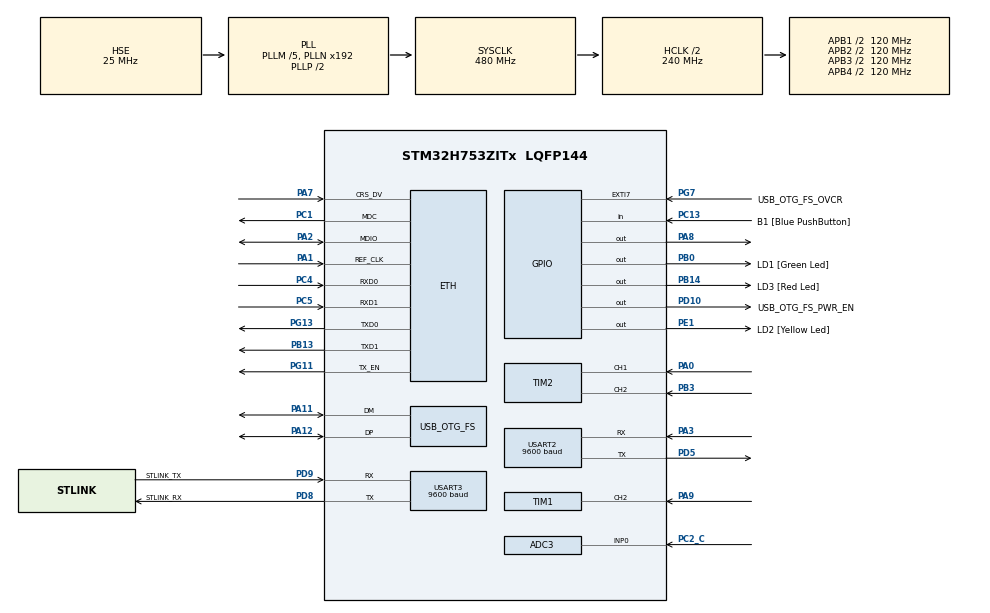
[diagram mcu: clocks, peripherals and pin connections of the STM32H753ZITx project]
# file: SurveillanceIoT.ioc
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ADC3.Channel-0\#ChannelRegularConversion=ADC_CHANNEL_0
ADC3.ContinuousConvMode=ENABLE
ADC3.NbrOfConversionFlag=1
ADC3.OffsetNumber-0\#ChannelRegularConversion=ADC_OFFSET_NONE
ADC3.OffsetSignedSaturation-0\#ChannelRegularConversion=DISABLE
ADC3.Rank-0\#ChannelRegularConversion=1
ADC3.SamplingTime-0\#ChannelRegularConversion=ADC_SAMPLETIME_1CYCLE_5
CORTEX_M7.CPU_DCache=Disabled
CORTEX_M7.CPU_ICache=Disabled
CORTEX_M7.MPU_Control=__NULL
ETH.ETH_RX_DESC_CNT=4
ETH.ETH_TX_DESC_CNT=4
ETH.MACAddr=00\:80\:E1\:00\:00\:00
ETH.MediaInterface=HAL_ETH_RMII_MODE
ETH.RxBuffAddress=0x30040200
ETH.RxBuffLen=1524
ETH.RxDescAddress=0x30040000
ETH.TxDescAddress=0x30040060
FREERTOS.Tasks01=defaultTask,24,128,StartDefaultTask,Default,NULL,Dynamic,NULL,NULL;SensorsTask,8,1024,StartTask02,Default,NULL,Dynamic,NULL,NULL
FREERTOS.configTOTAL_HEAP_SIZE=32768
LWIP.GATEWAY_ADDRESS=192.168.000.001
LWIP.IP_ADDRESS=192.168.000.002
LWIP.LWIP_DHCP=0
LWIP.NETMASK_ADDRESS=255.255.255.000
LWIP.Version=v2.1.2_Cube
Mcu.Family=STM32H7
Mcu.Name=STM32H753ZITx
Mcu.Package=LQFP144
NVIC.PriorityGroup=NVIC_PRIORITYGROUP_4
PA0.Signal=S_TIM2_CH1_ETR
PA1.Mode=RMII
PA1.Signal=ETH_REF_CLK
PA11.Mode=Device_Only
PA11.Signal=USB_OTG_FS_DM
PA12.Mode=Device_Only
PA12.Signal=USB_OTG_FS_DP
PA2.Mode=RMII
PA2.Signal=ETH_MDIO
PA3.Mode=Asynchronous
PA3.Signal=USART2_RX
PA7.Mode=RMII
PA7.Signal=ETH_CRS_DV
PA8.Signal=GPIO_Output
PA9.Signal=S_TIM1_CH2
PB0.GPIO_Label=LD1 [Green Led]
PB0.Signal=GPIO_Output
PB13.Mode=RMII
PB13.Signal=ETH_TXD1
PB14.GPIO_Label=LD3 [Red Led]
PB14.Signal=GPIO_Output
PB3\ (JTDO/TRACESWO).Signal=S_TIM2_CH2
PC1.Mode=RMII
PC1.Signal=ETH_MDC
PC13.GPIO_Label=B1 [Blue PushButton]
PC13.Signal=GPIO_Input
PC14-OSC32_IN\ (OSC32_IN).Mode=LSE-External-Oscillator
PC14-OSC32_IN\ (OSC32_IN).Signal=RCC_OSC32_IN
PC15-OSC32_OUT\ (OSC32_OUT).Mode=LSE-External-Oscillator
PC15-OSC32_OUT\ (OSC32_OUT).Signal=RCC_OSC32_OUT
PC2_C.Mode=IN0-Single-Ended
PC2_C.Signal=ADC3_INP0
PC4.Mode=RMII
PC4.Signal=ETH_RXD0
PC5.Mode=RMII
PC5.Signal=ETH_RXD1
PD10.GPIO_Label=USB_OTG_FS_PWR_EN
PD10.Signal=GPIO_Output
PD5.Mode=Asynchronous
PD5.Signal=USART2_TX
PD8.GPIO_Label=STLINK_RX
PD8.Mode=Asynchronous
PD8.Signal=USART3_TX
PD9.GPIO_Label=STLINK_TX
PD9.Mode=Asynchronous
PD9.Signal=USART3_RX
PE1.GPIO_Label=LD2 [Yellow Led]
PE1.Signal=GPIO_Output
PG11.Mode=RMII
PG11.Signal=ETH_TX_EN
PG13.Mode=RMII
PG13.Signal=ETH_TXD0
PG7.GPIO_Label=USB_OTG_FS_OVCR
PG7.Signal=GPXTI7
PH0-OSC_IN\ (PH0).Mode=HSE-External-Oscillator
PH0-OSC_IN\ (PH0).Signal=RCC_OSC_IN
PH1-OSC_OUT\ (PH1).Mode=HSE-External-Oscillator
PH1-OSC_OUT\ (PH1).Signal=RCC_OSC_OUT
ProjectManager.HeapSize=0x200
ProjectManager.StackSize=0x400
ProjectManager.TargetToolchain=STM32CubeIDE
RCC.ADCFreq_Value=75000000
RCC.APB1Freq_Value=120000000
RCC.APB2Freq_Value=120000000
RCC.APB3Freq_Value=120000000
RCC.APB4Freq_Value=120000000
RCC.CortexFreq_Value=480000000
RCC.D1PPRE=RCC_APB3_DIV2
RCC.D2PPRE1=RCC_APB1_DIV2
RCC.D2PPRE2=RCC_APB2_DIV2
RCC.D3PPRE=RCC_APB4_DIV2
RCC.DIVM1=5
RCC.DIVM2=2
RCC.DIVN1=192
RCC.DIVN2=12
RCC.DIVQ1=15
RCC.HCLKFreq_Value=240000000
RCC.HPRE=RCC_HCLK_DIV2
RCC.HSE_VALUE=25000000
RCC.PLL2FRACN=0
RCC.PLL3FRACN=0
RCC.PLLFRACN=0
RCC.PWR_Regulator_Voltage_Scale=PWR_REGULATOR_VOLTAGE_SCALE0
RCC.SYSCLKFreq_VALUE=480000000
RCC.SYSCLKSource=RCC_SYSCLKSOURCE_PLLCLK
RCC.USBFreq_Value=64000000
SH.S_TIM1_CH2.0=TIM1_CH2,Input_Capture2_from_TI2
SH.S_TIM2_CH1_ETR.0=TIM2_CH1,Encoder_Interface
SH.S_TIM2_CH2.0=TIM2_CH2,Encoder_Interface
TIM1.Channel-Input_Capture2_from_TI2=TIM_CHANNEL_2
USART2.BaudRate=9600
USART2.VirtualMode-Asynchronous=VM_ASYNC
USART3.AutoBaudRateEnableParam=UART_ADVFEATURE_AUTOBAUDRATE_DISABLE
USART3.BaudRate=9600
USART3.ClockPrescaler=PRESCALER_DIV1
USART3.DMADisableonRxErrorParam=ADVFEATURE_DMA_ENABLEONRXERROR
USART3.DataInvertParam=ADVFEATURE_DATAINV_DISABLE
USART3.FIFOMode=FIFOMODE_DISABLE
USART3.MSBFirstParam=ADVFEATURE_MSBFIRST_DISABLE
USART3.Mode=MODE_TX_RX
USART3.OneBitSampling=UART_ONE_BIT_SAMPLE_DISABLE
USART3.OverSampling=UART_OVERSAMPLING_16
USART3.OverrunDisableParam=ADVFEATURE_OVERRUN_ENABLE
USART3.Parity=PARITY_NONE
USART3.RXFIFOThreshold=RXFIFO_THRESHOLD_1EIGHTHFULL
USART3.RxPinLevelInvertParam=ADVFEATURE_RXINV_DISABLE
USART3.StopBits=STOPBITS_1
USART3.SwapParam=ADVFEATURE_SWAP_DISABLE
USART3.TXFIFOThreshold=TXFIFO_THRESHOLD_1EIGHTHFULL
USART3.TxPinLevelInvertParam=ADVFEATURE_TXINV_DISABLE
USART3.VirtualMode-Asynchronous=VM_ASYNC
USART3.WordLength=WORDLENGTH_8B
USB_OTG_FS.Sof_enable=ENABLE
USB_OTG_FS.VirtualMode=Device_Only
USB_OTG_FS.battery_charging_enable=ENABLE
USB_OTG_FS.low_power_enable=DISABLE
USB_OTG_FS.lpm_enable=DISABLE
USB_OTG_FS.use_dedicated_ep1=DISABLE
USB_OTG_FS.vbus_sensing_enable=ENABLE
VP_FREERTOS_VS_CMSIS_V2.Mode=CMSIS_V2
VP_LWIP_VS_Enabled.Mode=Enabled
VP_MEMORYMAP_VS_MEMORYMAP.Mode=CurAppReg
board=NUCLEO-H753ZI

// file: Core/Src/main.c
/* USER CODE BEGIN Header */
/**
  ******************************************************************************
  * @file           : main.c
  * @brief          : Système IoT embarqué — STM32H753ZI
  *                   Capteurs + Ethernet + Modbus TCP/IP
  ******************************************************************************
  */
/* USER CODE END Header */
#include "main.h"
#include "cmsis_os.h"
#include "adc.h"
#include "lwip.h"
#include "memorymap.h"
#include "tim.h"
#include "usart.h"
#include "usb_otg.h"
#include "gpio.h"

/* USER CODE BEGIN Includes */
#include <string.h>
#include <stdio.h>
#include <stdlib.h>
#include <math.h>
#include "mb.h"
#include "mbtcp.h"
/* USER CODE END Includes */

/* USER CODE BEGIN PD */
#define MODBUS_REG_COUNT     10
#define GPS_BUFFER_SIZE      128
#define TEMP_SENSOR_ADDR     0x90

/* Broches HC-SR04 ultrason */
#define TRIG_PIN             GPIO_PIN_8
#define TRIG_PORT            GPIOA
#define ECHO_PIN             GPIO_PIN_9
#define ECHO_PORT            GPIOA
/* USER CODE END PD */

/* USER CODE BEGIN PV */
/* Données capteurs partagées entre tâches FreeRTOS */
volatile uint32_t lastModbusTick = 0;

/* Registres Modbus (10 x 16 bits) */
/* Reg 0 : gaz (ppm x10)           */
/* Reg 1 : température (°C x10)    */
/* Reg 2 : vitesse (km/h x10)      */
/* Reg 3 : GPS lat entier           */
/* Reg 4 : GPS lat décimal x10000  */
/* Reg 5 : GPS lon entier           */
/* Reg 6 : GPS lon décimal x10000  */
/* Reg 7 : distance (cm x10)       */
/* Reg 8-9 : réservés               */
uint16_t modbusRegisters[MODBUS_REG_COUNT] = {0};

/* Handle tâche FreeRTOS */
osThreadId_t sensorsTaskHandle;
const osThreadAttr_t sensorsTask_attributes = {
    .name       = "SensorsTask",
    .stack_size = 1024 * 4,
    .priority   = (osPriority_t) osPriorityNormal,
};
/* USER CODE END PV */

void SystemClock_Config(void);
void MX_FREERTOS_Init(void);
/* USER CODE BEGIN PFP */
void     SensorsTask(void *argument);
float    ReadGasSensor(void);
float    ReadSpeed(void);
float    ReadUltrasound(void);
void     GPS_ParseNMEA(char *sentence);
void     GPS_StartReceive(void);
void     UpdateModbusRegisters(void);
void     DWT_Init(void);
uint32_t DWT_GetMicros(void);
static void MPU_Config(void);  /* Configuration cache D2 SRAM -> non-cacheable */
/* USER CODE END PFP */

/* USER CODE BEGIN 0 */

/* --------------------------------------------------------------------------
 * MPU_Config — Rend le D2 SRAM non-cacheable pour le DMA Ethernet
 *
 * OBLIGATOIRE sur STM32H7 : le D-Cache Cortex-M7 corrompt silencieusement
 * les descripteurs DMA ETH si cette region n'est pas marquee non-cacheable.
 * Doit etre appele AVANT HAL_Init().
 * -------------------------------------------------------------------------- */
static void MPU_Config(void)
{
    MPU_Region_InitTypeDef MPU_InitStruct = {0};

    /* Desactive le MPU pendant la configuration */
    HAL_MPU_Disable();

    /* Region 0 : D2 SRAM entier (0x30000000, 512 KB couvre 288 KB reel)
     * Marque comme Non-Cacheable, Non-Bufferable (Normal, non-shared)
     * Ceci couvre :
     *   - LwIP heap     @ 0x30004000 (lwipopts LWIP_RAM_HEAP_POINTER)
     *   - ETH Rx desc   @ 0x30040000 (linker .RxDecripSection)
     *   - ETH Tx desc   @ 0x30040060 (linker .TxDecripSection)
     *   - LwIP Rx pool  @ 0x30040200 (linker .Rx_PoolSection)        */
    MPU_InitStruct.Enable           = MPU_REGION_ENABLE;
    MPU_InitStruct.Number           = MPU_REGION_NUMBER0;
    MPU_InitStruct.BaseAddress      = 0x30000000UL;
    MPU_InitStruct.Size             = MPU_REGION_SIZE_512KB;
    MPU_InitStruct.SubRegionDisable = 0x00U;
    MPU_InitStruct.TypeExtField     = MPU_TEX_LEVEL1;
    MPU_InitStruct.AccessPermission = MPU_REGION_FULL_ACCESS;
    MPU_InitStruct.DisableExec      = MPU_INSTRUCTION_ACCESS_DISABLE; /* Pas d'exécution de code ici */
    MPU_InitStruct.IsShareable      = MPU_ACCESS_SHAREABLE;           /* Crucial pour la synchro DMA */
    MPU_InitStruct.IsCacheable      = MPU_ACCESS_NOT_CACHEABLE;
    MPU_InitStruct.IsBufferable     = MPU_ACCESS_NOT_BUFFERABLE;
    HAL_MPU_ConfigRegion(&MPU_InitStruct);

    /* Active le MPU — acces non-privilegies utilise la carte memoire par defaut */
    HAL_MPU_Enable(MPU_PRIVILEGED_DEFAULT);
}

/* --------------------------------------------------------------------------
 * DWT — compteur de cycles pour mesures de temps précises (ultrason)
 * -------------------------------------------------------------------------- */
void DWT_Init(void) {
    CoreDebug->DEMCR |= CoreDebug_DEMCR_TRCENA_Msk;
    DWT->CYCCNT = 0;
    DWT->CTRL  |= DWT_CTRL_CYCCNTENA_Msk;
}

/* Retourne le temps écoulé en microsecondes depuis le dernier reset DWT */
uint32_t DWT_GetMicros(void) {
    return (DWT->CYCCNT / (SystemCoreClock / 1000000));
}

/**
  * @brief  Délai précis en microsecondes utilisant le compteur de cycles DWT.
  */
void DWT_Delay_us(volatile uint32_t microseconds)
{
    uint32_t clk_cycle_start = DWT->CYCCNT;
    /* Calcul du nombre de cycles nécessaires */
    uint32_t cycles = microseconds * (SystemCoreClock / 1000000);
    while ((DWT->CYCCNT - clk_cycle_start) < cycles);
}

/* --------------------------------------------------------------------------
 * ReadGasSensor — Lecture ADC3 capteur de gaz MQ-2
 * -------------------------------------------------------------------------- */
float ReadGasSensor(void) {
    HAL_ADC_Start(&hadc3);
    if (HAL_ADC_PollForConversion(&hadc3, 10) == HAL_OK) {
        uint32_t raw = HAL_ADC_GetValue(&hadc3);
        HAL_ADC_Stop(&hadc3);

        /* Conversion : ADC 16-bit sur H7 (0..65535) -> 0..3.3V */
        float voltage = (raw * 3.3f) / 65535.0f;

        /* Calibration simplifiée : mapping 0-3.3V vers 0-5000 ppm */
        float ppm = (voltage / 3.3f) * 5000.0f;
        return ppm;
    }
    HAL_ADC_Stop(&hadc3);
    return 0.0f;
}

/* --------------------------------------------------------------------------
 * ReadSpeed — Lecture encodeur incrémental sur TIM2
 * Retourne la vitesse en km/h
 * -------------------------------------------------------------------------- */
float ReadSpeed(void) {
    /* Lit le compteur encodeur et le remet à zéro */
    uint16_t count = (uint16_t)__HAL_TIM_GET_COUNTER(&htim2);
    __HAL_TIM_SET_COUNTER(&htim2, 0);

    /* Conversion en km/h :
     * - Roue de 0.5 m de circonférence
     * - 20 impulsions par tour de roue
     * - Tâche appelée toutes les 100 ms (0.1 s)
     * tours/s = count / (20 * 0.1) = count / 2
     * vitesse m/s = tours/s * 0.5
     * vitesse km/h = vitesse m/s * 3.6 */
    float tours_par_seconde = count / (20.0f * 0.1f);
    float vitesse_ms  = tours_par_seconde * 0.5f;
    float vitesse_kmh = vitesse_ms * 3.6f;
    return vitesse_kmh;
}

/* --------------------------------------------------------------------------
 * ReadUltrasound — Capteur HC-SR04 (Trig PF12, Echo PF13)
 * -------------------------------------------------------------------------- */
float ReadUltrasound(void) {
    uint32_t start_time, stop_time;
    uint32_t timeout = 1000000; // Sécurité pour éviter de bloquer la boucle

    /* 1. Pulse de 10us sur TRIG (PF12) */
    HAL_GPIO_WritePin(GPIOF, GPIO_PIN_12, GPIO_PIN_SET);
    DWT_Delay_us(10);
    HAL_GPIO_WritePin(GPIOF, GPIO_PIN_12, GPIO_PIN_RESET);

    /* 2. Attendre que ECHO (PF13) passe à HIGH */
    while(HAL_GPIO_ReadPin(GPIOF, GPIO_PIN_13) == GPIO_PIN_RESET && timeout > 0) {
        timeout--;
    }
    start_time = DWT->CYCCNT;

    /* 3. Attendre que ECHO repasse à LOW */
    timeout = 1000000;
    while(HAL_GPIO_ReadPin(GPIOF, GPIO_PIN_13) == GPIO_PIN_SET && timeout > 0) {
        timeout--;
    }
    stop_time = DWT->CYCCNT;

    /* 4. Calcul de la distance */
    /* Vitesse du son = 343 m/s => 0.0343 cm/us */
    uint32_t duration_cycles = stop_time - start_time;
    float distance = ((float)duration_cycles * 0.0343f) / (2.0f * (SystemCoreClock / 1000000.0f));

    /* Filtrage des erreurs (portée max 400cm) */
    if (distance > 400.0f || distance < 2.0f) return 0.0f;

    return distance;
}

/* --------------------------------------------------------------------------
 * DHT11 — Capteur Température/Humidité sur PE3
 * -------------------------------------------------------------------------- */
void Set_Pin_Output(GPIO_TypeDef *GPIOx, uint16_t GPIO_Pin) {
    GPIO_InitTypeDef GPIO_InitStruct = {0};
    GPIO_InitStruct.Pin = GPIO_Pin;
    GPIO_InitStruct.Mode = GPIO_MODE_OUTPUT_PP;
    GPIO_InitStruct.Pull = GPIO_NOPULL;
    GPIO_InitStruct.Speed = GPIO_SPEED_FREQ_LOW;
    HAL_GPIO_Init(GPIOx, &GPIO_InitStruct);
}

void Set_Pin_Input(GPIO_TypeDef *GPIOx, uint16_t GPIO_Pin) {
    GPIO_InitTypeDef GPIO_InitStruct = {0};
    GPIO_InitStruct.Pin = GPIO_Pin;
    GPIO_InitStruct.Mode = GPIO_MODE_INPUT;
    GPIO_InitStruct.Pull = GPIO_PULLUP; // Activation du Pull-up interne
    HAL_GPIO_Init(GPIOx, &GPIO_InitStruct);
}

volatile uint8_t dhtError = 0;

void ReadDHT11(float *temp, float *hum) {
    uint8_t data[5] = {0};
    uint32_t timeout;
    dhtError = 0;

    /* 1. Signal de démarrage */
    Set_Pin_Output(GPIOE, GPIO_PIN_3);
    HAL_GPIO_WritePin(GPIOE, GPIO_PIN_3, GPIO_PIN_RESET);
    HAL_Delay(25);
    HAL_GPIO_WritePin(GPIOE, GPIO_PIN_3, GPIO_PIN_SET);
    DWT_Delay_us(30);
    Set_Pin_Input(GPIOE, GPIO_PIN_3);

    /* 2. Attente réponse du DHT11 */
    timeout = 10000;
    while(HAL_GPIO_ReadPin(GPIOE, GPIO_PIN_3) == GPIO_PIN_SET) {
        if (--timeout == 0) { dhtError = 1; return; }
    }

    /* Attente de la fin du LOW (80us) */
    timeout = 10000;
    while(HAL_GPIO_ReadPin(GPIOE, GPIO_PIN_3) == GPIO_PIN_RESET) {
        if (--timeout == 0) { dhtError = 2; return; }
    }

    /* Attente de la fin du HIGH (80us) */
    timeout = 10000;
    while(HAL_GPIO_ReadPin(GPIOE, GPIO_PIN_3) == GPIO_PIN_SET) {
        if (--timeout == 0) { dhtError = 2; return; }
    }

    /* 3. Lecture des 40 bits */
    for (int i=0; i<40; i++) {
        timeout = 10000;
        while(HAL_GPIO_ReadPin(GPIOE, GPIO_PIN_3) == GPIO_PIN_RESET) {
            if (--timeout == 0) { dhtError = 3; return; }
        }

        DWT_Delay_us(40); // Seuil entre bit 0 et bit 1

        if(HAL_GPIO_ReadPin(GPIOE, GPIO_PIN_3) == GPIO_PIN_SET) {
            data[i/8] |= (1 << (7 - (i%8)));
            timeout = 10000;
            while(HAL_GPIO_ReadPin(GPIOE, GPIO_PIN_3) == GPIO_PIN_SET) {
                if (--timeout == 0) break;
            }
        }
    }

    /* 4. Vérification Checksum */
    if (data[4] == (uint8_t)(data[0] + data[1] + data[2] + data[3])) {
        if (data[0] != 0 || data[2] != 0) { // On ignore si tout est à zéro (cas d'erreur rare)
            *hum = (float)data[0] + (float)data[1]/10.0f;
            *temp = (float)data[2] + (float)data[3]/10.0f;
        }
    } else {
        dhtError = 4;
    }
}

/* --------------------------------------------------------------------------
 * GPS_ParseNMEA — Parse une trame NMEA $GPRMC ou $GNRMC
 * Met à jour sensorData.gps_lat et gps_lon
 * -------------------------------------------------------------------------- */

/* --------------------------------------------------------------------------
 * ReadDHT11_On_PB10 — Lecture Niveau Registre
 * -------------------------------------------------------------------------- */
void ReadDHT11_On_PB10(float *temp, float *hum) {
    uint8_t data[5] = {0};
    uint32_t timeout;
    dhtError = 0;

    /* 1. Mode Sortie : PB10 */
    GPIOB->MODER &= ~(3UL << (10 * 2));
    GPIOB->MODER |=  (1UL << (10 * 2));

    /* 2. Signal LOW (20ms) */
    GPIOB->BSRR = (1UL << (10 + 16));
    HAL_Delay(20);

    /* 3. Signal HIGH court et passage immédiat en INPUT */
    GPIOB->BSRR = (1UL << 10);
    DWT_Delay_us(2);
    GPIOB->MODER &= ~(3UL << (10 * 2)); // Mode Entrée

    /* 4. Attente réponse (LOW puis HIGH) */
    timeout = 20000;
    while((GPIOB->IDR & (1UL << 10))) if (--timeout == 0) { dhtError = 1; return; }

    timeout = 20000;
    while(!(GPIOB->IDR & (1UL << 10))) if (--timeout == 0) { dhtError = 2; return; }

    timeout = 20000;
    while((GPIOB->IDR & (1UL << 10))) if (--timeout == 0) { dhtError = 2; return; }

    /* 5. Lecture des 40 bits */
    for (int i=0; i<40; i++) {
        timeout = 20000;
        while(!(GPIOB->IDR & (1UL << 10))) if (--timeout == 0) { dhtError = 3; return; }

        DWT_Delay_us(40);

        if(GPIOB->IDR & (1UL << 10)) {
            data[i/8] |= (1 << (7 - (i%8)));
            timeout = 20000;
            while((GPIOB->IDR & (1UL << 10))) if (--timeout == 0) break;
        }
    }

    if (data[4] == (uint8_t)(data[0] + data[1] + data[2] + data[3])) {
        if (data[0] != 0 || data[2] != 0) {
            *hum = (float)data[0] + (float)data[1]/10.0f;
            *temp = (float)data[2] + (float)data[3]/10.0f;
        }
    } else {
        dhtError = 4;
    }
}

void UpdateModbusRegisters(void) {
    modbusRegisters[0] = (uint16_t)(sensorData.gas_ppm     * 10.0f);
    modbusRegisters[1] = (uint16_t)(sensorData.temperature * 10.0f);
    modbusRegisters[2] = (uint16_t)(sensorData.speed_kmh   * 10.0f);
    modbusRegisters[3] = (uint16_t)(fabsf(sensorData.gps_lat));
    modbusRegisters[4] = (uint16_t)((fabsf(sensorData.gps_lat)
                          - (float)modbusRegisters[3]) * 10000.0f);
    modbusRegisters[5] = (uint16_t)(fabsf(sensorData.gps_lon));
    modbusRegisters[6] = (uint16_t)((fabsf(sensorData.gps_lon)
                          - (float)modbusRegisters[5]) * 10000.0f);
    modbusRegisters[7] = (uint16_t)(sensorData.distance_cm * 10.0f);
    modbusRegisters[8] = (uint16_t)(sensorData.humidity    * 10.0f);

    uint16_t diag = 0;
    if (sensorData.temperature == 0.0f) diag |= 0x01;
    if (sensorData.gps_lat == 0.0f)     diag |= 0x04;
    modbusRegisters[9] = diag;
}

/* USER CODE END 0 */

int main(void)
{

  /* USER CODE BEGIN 1 */
  /* 1. Configurer le MPU AVANT HAL_Init() pour eviter la corruption
   *    du DMA Ethernet par le D-Cache Cortex-M7 (bug silencieux STM32H7) */
  MPU_Config();
  /* USER CODE END 1 */

  /* MCU Configuration--------------------------------------------------------*/

  /* Reset of all peripherals, Initializes the Flash interface and the Systick. */
  HAL_Init();

  /* Configure the system clock */
  SystemClock_Config();

  /* Initialize all configured peripherals */
  MX_GPIO_Init();
  MX_USART3_UART_Init();
  MX_USB_OTG_FS_PCD_Init();
  MX_ADC3_Init();
  MX_TIM1_Init();
  MX_TIM2_Init();
  MX_USART2_UART_Init();

  /* USER CODE BEGIN 2 */
    /* Priorité MAXIMALE pour le Systick pour que le watchdog de secours (it)
     * puisse redémarrer la carte même si l'Ethernet bloque tout. */
    HAL_NVIC_SetPriority(SysTick_IRQn, 0, 0);

    /* Initialise DWT pour mesures de temps précises (ultrason) */
    CoreDebug->DEMCR |= CoreDebug_DEMCR_TRCENA_Msk;
    DWT->LAR = 0xC5ACCE55; /* Déverrouillage DWT sur H7 */
    DWT->CYCCNT = 0;
    DWT->CTRL   |= DWT_CTRL_CYCCNTENA_Msk;

    /* Démarre l'encodeur de vitesse */
    HAL_TIM_Encoder_Start(&htim2, TIM_CHANNEL_ALL);

    /* NOTE : MX_LWIP_Init() et eMBTCPInit() sont appelés DANS la tâche
     *        FreeRTOS (StartDefaultTask) car LwIP nécessite le scheduler. */

  /* USER CODE END 2 */

  /* Init scheduler */
  osKernelInitialize();

  /* Call init function for freertos objects (in cmsis_os2.c) */
  MX_FREERTOS_Init();

  /* Start scheduler */
  osKernelStart();

  /* We should never get here as control is now taken by the scheduler */

  /* Infinite loop */
  while (1)
  {

  }
}

void SystemClock_Config(void)
{
  RCC_OscInitTypeDef RCC_OscInitStruct = {0};
  RCC_ClkInitTypeDef RCC_ClkInitStruct = {0};

  /** Supply configuration update enable
  */
  HAL_PWREx_ConfigSupply(PWR_LDO_SUPPLY);

  /** Configure the main internal regulator output voltage
  */
  __HAL_PWR_VOLTAGESCALING_CONFIG(PWR_REGULATOR_VOLTAGE_SCALE1);

  while(!__HAL_PWR_GET_FLAG(PWR_FLAG_VOSRDY)) {}

  __HAL_RCC_SYSCFG_CLK_ENABLE();
  __HAL_PWR_VOLTAGESCALING_CONFIG(PWR_REGULATOR_VOLTAGE_SCALE0);

  while(!__HAL_PWR_GET_FLAG(PWR_FLAG_VOSRDY)) {}

  /** Initializes the RCC Oscillators according to the specified parameters
  * in the RCC_OscInitTypeDef structure.
  */
  RCC_OscInitStruct.OscillatorType = RCC_OSCILLATORTYPE_HSE;
  RCC_OscInitStruct.HSEState = RCC_HSE_ON;
  RCC_OscInitStruct.PLL.PLLState = RCC_PLL_ON;
  RCC_OscInitStruct.PLL.PLLSource = RCC_PLLSOURCE_HSE;
  RCC_OscInitStruct.PLL.PLLM = 5;
  RCC_OscInitStruct.PLL.PLLN = 192;
  RCC_OscInitStruct.PLL.PLLP = 2;
  RCC_OscInitStruct.PLL.PLLQ = 15;
  RCC_OscInitStruct.PLL.PLLR = 2;
  RCC_OscInitStruct.PLL.PLLRGE = RCC_PLL1VCIRANGE_2;
  RCC_OscInitStruct.PLL.PLLVCOSEL = RCC_PLL1VCOWIDE;
  RCC_OscInitStruct.PLL.PLLFRACN = 0;
  if (HAL_RCC_OscConfig(&RCC_OscInitStruct) != HAL_OK)
  {
    Error_Handler();
  }

  /** Initializes the CPU, AHB and APB buses clocks
  */
  RCC_ClkInitStruct.ClockType = RCC_CLOCKTYPE_HCLK|RCC_CLOCKTYPE_SYSCLK
                              |RCC_CLOCKTYPE_PCLK1|RCC_CLOCKTYPE_PCLK2
                              |RCC_CLOCKTYPE_D3PCLK1|RCC_CLOCKTYPE_D1PCLK1;
  RCC_ClkInitStruct.SYSCLKSource = RCC_SYSCLKSOURCE_PLLCLK;
  RCC_ClkInitStruct.SYSCLKDivider = RCC_SYSCLK_DIV1;
  RCC_ClkInitStruct.AHBCLKDivider = RCC_HCLK_DIV2;
  RCC_ClkInitStruct.APB3CLKDivider = RCC_APB3_DIV2;
  RCC_ClkInitStruct.APB1CLKDivider = RCC_APB1_DIV2;
  RCC_ClkInitStruct.APB2CLKDivider = RCC_APB2_DIV2;
  RCC_ClkInitStruct.APB4CLKDivider = RCC_APB4_DIV2;

  if (HAL_RCC_ClockConfig(&RCC_ClkInitStruct, FLASH_LATENCY_4) != HAL_OK)
  {
    Error_Handler();
  }
}

void Error_Handler(void)
{
  /* USER CODE BEGIN Error_Handler_Debug */
  /* Clignotement rapide pour indiquer un crash systeme */
  while (1)
  {
      HAL_GPIO_TogglePin(GPIOB, GPIO_PIN_14);
      HAL_Delay(50);
  }
  /* USER CODE END Error_Handler_Debug */
}

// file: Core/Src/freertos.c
/* USER CODE BEGIN Header */
/**
  ******************************************************************************
  * File Name          : freertos.c
  * Description        : Code for freertos applications
  ******************************************************************************
  * @attention
  *
  * Copyright (c) 2026 STMicroelectronics.
  * All rights reserved.
  *
  * This software is licensed under terms that can be found in the LICENSE file
  * in the root directory of this software component.
  * If no LICENSE file comes with this software, it is provided AS-IS.
  *
  ******************************************************************************
  */
/* USER CODE END Header */

#include "FreeRTOS.h"
#include "task.h"
#include "main.h"
#include "cmsis_os.h"

/* USER CODE BEGIN Includes */
#include "mb.h"
#include <stdbool.h>
/* USER CODE END Includes */

/* USER CODE BEGIN Variables */
/* Flag : Modbus TCP initialisé et prêt */
volatile bool modbusReady = false;
volatile SensorData_t sensorData;
/* USER CODE END Variables */

/* Definitions for defaultTask */
osThreadId_t defaultTaskHandle;
const osThreadAttr_t defaultTask_attributes = {
  .name = "defaultTask",
  .stack_size = 1024 * 8,
  .priority = (osPriority_t) osPriorityAboveNormal,
};
/* Definitions for SensorsTask */
osThreadId_t SensorsTaskHandle;
const osThreadAttr_t SensorsTask_attributes = {
  .name = "SensorsTask",
  .stack_size = 1024 * 4,
  .priority = (osPriority_t) osPriorityNormal,
};

void StartDefaultTask(void *argument);
void StartTask02(void *argument);

extern void MX_LWIP_Init(void);
void MX_FREERTOS_Init(void); /* (MISRA C 2004 rule 8.1) */

void MX_FREERTOS_Init(void) {

  /* Create the thread(s) */
  /* creation of defaultTask */
  defaultTaskHandle = osThreadNew(StartDefaultTask, NULL, &defaultTask_attributes);

  /* creation of SensorsTask */
  SensorsTaskHandle = osThreadNew(StartTask02, NULL, &SensorsTask_attributes);

}

void StartDefaultTask(void *argument)
{
  /* 1. Initialise LwIP */
  MX_LWIP_Init();

  /* USER CODE BEGIN StartDefaultTask */
  /* 2. Attends un peu que le lien soit stable */
  osDelay(2000);

  /* 3. Initialise le serveur Modbus TCP */
  if (eMBTCPInit(502) == MB_ENOERR) {
    eMBEnable();
    lastModbusTick = HAL_GetTick(); /* Initialisation ICI */
    modbusReady = true;
  }

  /* Infinite loop */
  for(;;)
  {
    /* Traitement Modbus TCP */
    eMBPoll();

    /* --- AUTO-RÉCUPÉRATION ETHERNET --- */
    extern ETH_HandleTypeDef heth;
    if (HAL_ETH_GetState(&heth) == HAL_ETH_STATE_ERROR) {
        HAL_ETH_Stop_IT(&heth);
        HAL_ETH_Start_IT(&heth);
    }

    HAL_GPIO_TogglePin(LD1_GPIO_Port, LD1_Pin); /* Témoin Tâche Modbus (Verte) */
    osDelay(20);
  }
  /* USER CODE END StartDefaultTask */
}

void StartTask02(void *argument)
{
  /* USER CODE BEGIN StartTask02 */
  /* Variables Globales definies dans main.c/gps.c */
  extern float gpsLat;
  extern float gpsLon;
  extern char  gpsBuffer[256];
  extern volatile uint8_t dhtError;

  uint32_t dht11_counter = 0;

  /* Infinite loop */
  for(;;)
  {
    /* 1. Lecture des capteurs RÉELS */
    sensorData.gas_ppm     = ReadGasSensor();
    sensorData.distance_cm = ReadUltrasound();
    sensorData.speed_kmh   = ReadSpeed();

    /* Lecture DHT11 toutes les 2 secondes (10 * 200ms) */
    if (dht11_counter++ >= 10) {
        float temp = 0.0f, hum = 0.0f;
        /* --- UTILISATION DE PB10 (D6) --- */
        ReadDHT11_On_PB10(&temp, &hum);
        if (temp > 0.0f || hum > 0.0f) {
            sensorData.temperature = temp;
            sensorData.humidity = hum;
        } else {
            extern volatile uint8_t dhtError;
            sensorData.temperature = (float)dhtError + 0.1f;
        }
        dht11_counter = 0;
        osDelay(50); // Laisse l'Ethernet respirer après le DHT11
    }

    /* Lecture GPS */
    GPS_Update();
    sensorData.gps_lat = gpsLat;
    sensorData.gps_lon = gpsLon;

    /* Rétablissement de la distance réelle */
    sensorData.distance_cm = ReadUltrasound();

    /* 3. Mise à jour des registres Modbus */
    if (modbusReady) {
      UpdateModbusRegisters();
    }

    /* 4. Témoin d'activité (Bleue) */
    HAL_GPIO_TogglePin(LD2_GPIO_Port, LD2_Pin);

    osDelay(300);  /* Cycle allongé à 300 ms pour la stabilité */
  }
  /* USER CODE END StartTask02 */
}
